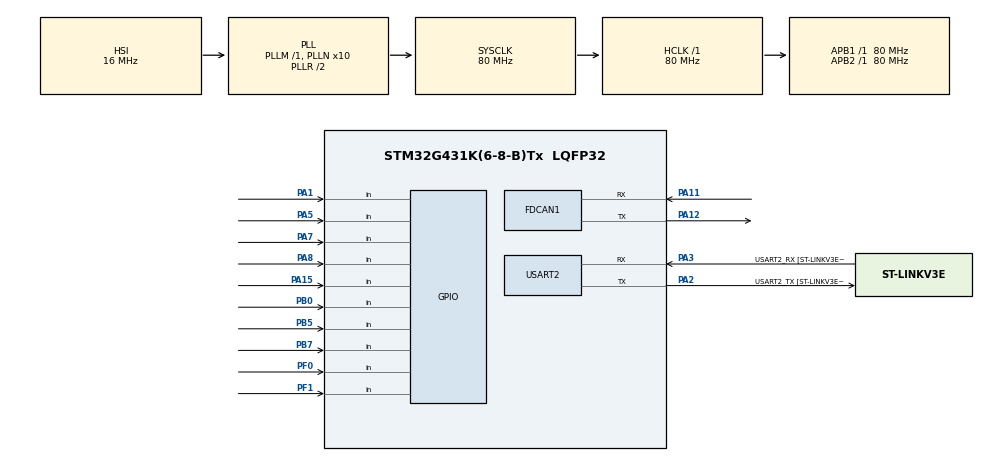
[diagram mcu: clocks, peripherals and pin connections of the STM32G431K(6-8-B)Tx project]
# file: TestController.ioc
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FDCAN1.CalculateBaudRateNominal=1000000
FDCAN1.CalculateTimeBitNominal=1000
FDCAN1.CalculateTimeQuantumNominal=62.5
FDCAN1.DataPrescaler=1
FDCAN1.DataSyncJumpWidth=4
FDCAN1.DataTimeSeg1=5
FDCAN1.DataTimeSeg2=4
FDCAN1.NominalPrescaler=5
FDCAN1.NominalSyncJumpWidth=16
FDCAN1.NominalTimeSeg1=13
FDCAN1.StdFiltersNbr=1
Mcu.Family=STM32G4
Mcu.Name=STM32G431K(6-8-B)Tx
Mcu.Package=LQFP32
NVIC.FDCAN1_IT0_IRQn=true\:0\:0\:false\:false\:true\:true\:true\:true
NVIC.FDCAN1_IT1_IRQn=true\:0\:0\:false\:false\:true\:true\:true\:true
NVIC.PriorityGroup=NVIC_PRIORITYGROUP_4
PA1.GPIO_PuPd=GPIO_PULLUP
PA1.Signal=GPIO_Input
PA11.Mode=FDCAN_Activate
PA11.Signal=FDCAN1_RX
PA12.Mode=FDCAN_Activate
PA12.Signal=FDCAN1_TX
PA13.GPIO_Label=T_SWDIO
PA13.Mode=Serial_Wire
PA13.Signal=SYS_JTMS-SWDIO
PA14.GPIO_Label=T_SWCLK
PA14.Mode=Serial_Wire
PA14.Signal=SYS_JTCK-SWCLK
PA15.GPIO_PuPd=GPIO_PULLUP
PA15.Signal=GPIO_Input
PA2.GPIO_Label=USART2_TX [ST-LINKV3E_VCP_RX]
PA2.Mode=Asynchronous
PA2.Signal=USART2_TX
PA3.GPIO_Label=USART2_RX [ST-LINKV3E_VCP_TX]
PA3.Mode=Asynchronous
PA3.Signal=USART2_RX
PA5.GPIO_PuPd=GPIO_PULLUP
PA5.Signal=GPIO_Input
PA7.GPIO_PuPd=GPIO_PULLUP
PA7.Signal=GPIO_Input
PA8.GPIO_PuPd=GPIO_PULLUP
PA8.Signal=GPIO_Input
PB0.GPIO_PuPd=GPIO_PULLUP
PB0.Signal=GPIO_Input
PB5.GPIO_PuPd=GPIO_PULLUP
PB5.Signal=GPIO_Input
PB7.GPIO_PuPd=GPIO_PULLUP
PB7.Signal=GPIO_Input
PF0-OSC_IN.GPIO_PuPd=GPIO_PULLUP
PF0-OSC_IN.Signal=GPIO_Input
PF1-OSC_OUT.GPIO_PuPd=GPIO_PULLUP
PF1-OSC_OUT.Signal=GPIO_Input
ProjectManager.HeapSize=0x200
ProjectManager.StackSize=0x400
ProjectManager.TargetToolchain=STM32CubeIDE
RCC.ADC12Freq_Value=80000000
RCC.AHBFreq_Value=80000000
RCC.APB1Freq_Value=80000000
RCC.APB1TimFreq_Value=80000000
RCC.APB2Freq_Value=80000000
RCC.APB2TimFreq_Value=80000000
RCC.CortexFreq_Value=80000000
RCC.EXTERNAL_CLOCK_VALUE=12288000
RCC.HCLKFreq_Value=80000000
RCC.HSE_VALUE=8000000
RCC.HSI48_VALUE=48000000
RCC.HSI_VALUE=16000000
RCC.LSE_VALUE=32768
RCC.PLLN=10
RCC.SYSCLKFreq_VALUE=80000000
RCC.SYSCLKSource=RCC_SYSCLKSOURCE_PLLCLK
RCC.USBFreq_Value=80000000
RCC.VCOOutputFreq_Value=160000000
USART2.VirtualMode-Asynchronous=VM_ASYNC
USART2.WordLength=WORDLENGTH_8B
board=NUCLEO-G431KB

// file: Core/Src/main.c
/* USER CODE BEGIN Header */
/**
  ******************************************************************************
  * @file           : main.c
  * @brief          : Main program body
  ******************************************************************************
  * @attention
  *
  * Copyright (c) 2023 STMicroelectronics.
  * All rights reserved.
  *
  * This software is licensed under terms that can be found in the LICENSE file
  * in the root directory of this software component.
  * If no LICENSE file comes with this software, it is provided AS-IS.
  *
  ******************************************************************************
  */
/* USER CODE END Header */
#include "main.h"

/* USER CODE BEGIN Includes */
#include <stdio.h>

/* USER CODE END Includes */

/* USER CODE BEGIN PM */
#define CANID_ROBOTVEL 0x20F

/* USER CODE END PM */

FDCAN_HandleTypeDef hfdcan1;

UART_HandleTypeDef huart2;

/* USER CODE BEGIN PV */
FDCAN_TxHeaderTypeDef TxHeader;
/* USER CODE END PV */

void SystemClock_Config(void);
static void MX_GPIO_Init(void);
static void MX_USART2_UART_Init(void);
static void MX_FDCAN1_Init(void);

/* USER CODE BEGIN 0 */
int _write(int file, char *ptr, int len)
{
	HAL_UART_Transmit(&huart2, (uint8_t *)ptr, len, 10);
	return len;
}

/*void HAL_GPIO_EXTI_Callback(uint16_t GPIO_Pin){
	if(GPIO_Pin == GPIO_PIN_15){
		printf("a\r\n");
	}
	else if(GPIO_Pin == GPIO_PIN_10){
		printf("b\r\n");
	}
	else if(GPIO_Pin == GPIO_PIN_9){
		printf("c\r\n");
	}
	else if(GPIO_Pin == GPIO_PIN_7){
		printf("d\r\n");
	}
	else if(GPIO_Pin == GPIO_PIN_6){
		printf("e\r\n");
	}
	else if(GPIO_Pin == GPIO_PIN_5){
		printf("f\r\n");
	}
	else if(GPIO_Pin == GPIO_PIN_4){
		printf("g\r\n");
	}
	else if(GPIO_Pin == GPIO_PIN_1){
		printf("h\r\n");
	}
	else if(GPIO_Pin == GPIO_PIN_0){
		printf("i\r\n");
	}
	else if(GPIO_Pin == GPIO_PIN_3){
		printf("j\r\n");
	}
}*/
/* USER CODE END 0 */

int main(void)
{

  /* MCU Configuration--------------------------------------------------------*/

  /* Reset of all peripherals, Initializes the Flash interface and the Systick. */
  HAL_Init();

  /* Configure the system clock */
  SystemClock_Config();

  /* Initialize all configured peripherals */
  MX_GPIO_Init();
  MX_USART2_UART_Init();
  MX_FDCAN1_Init();
  /* USER CODE BEGIN 2 */
  uint8_t TxData[3];

  printf("Initialized\r\n");
  /* USER CODE END 2 */

  /* Infinite loop */
  /* USER CODE BEGIN WHILE */
  while (1)
  {
	  int8_t RobotVel[3]={};
	   if(HAL_GPIO_ReadPin(GPIOA, GPIO_PIN_8)==GPIO_PIN_RESET){
		  RobotVel[1]=127;
		  printf("Y+\r\n");
	  }
	   else if(HAL_GPIO_ReadPin(GPIOB, GPIO_PIN_7)==GPIO_PIN_RESET){
		  RobotVel[1]=-127;
		  printf("Y-\r\n");
	  }
	  if(HAL_GPIO_ReadPin(GPIOB, GPIO_PIN_5)==GPIO_PIN_RESET){
		  RobotVel[0]=127;
		  printf("X+\r\n");
	  }
	  else if(HAL_GPIO_ReadPin(GPIOA, GPIO_PIN_15)==GPIO_PIN_RESET){
		  RobotVel[0]=-127;
		  printf("X-\r\n");
	  }
	 if(HAL_GPIO_ReadPin(GPIOA, GPIO_PIN_1)==GPIO_PIN_RESET){
		  RobotVel[2]=127;
		  printf("R+\r\n");
	  }
	  else if(HAL_GPIO_ReadPin(GPIOB, GPIO_PIN_0)==GPIO_PIN_RESET){
		  RobotVel[2]=-127;
		  printf("R-\r\n");
	  }
	   if(HAL_GPIO_ReadPin(GPIOA, GPIO_PIN_7)==GPIO_PIN_RESET){
		   for(uint8_t i=0; i<3; i++){
			   RobotVel[i]/=8;
		   }
		   printf("Slow\r\n");
	   }

	  for(int i=0; i<3; i++){
		  TxData[i] = RobotVel[i]+127;

	  }
	  printf("X:%d, Y%d, Om%d\r\n", TxData[0], TxData[1], TxData[2]);

	  if (HAL_FDCAN_AddMessageToTxFifoQ(&hfdcan1, &TxHeader, TxData) != HAL_OK) {

	  		Error_Handler();
	  	}

	  HAL_Delay(15);

    /* USER CODE END WHILE */

  }
}

void SystemClock_Config(void)
{
  RCC_OscInitTypeDef RCC_OscInitStruct = {0};
  RCC_ClkInitTypeDef RCC_ClkInitStruct = {0};

  /** Configure the main internal regulator output voltage
  */
  HAL_PWREx_ControlVoltageScaling(PWR_REGULATOR_VOLTAGE_SCALE1);

  /** Initializes the RCC Oscillators according to the specified parameters
  * in the RCC_OscInitTypeDef structure.
  */
  RCC_OscInitStruct.OscillatorType = RCC_OSCILLATORTYPE_HSI;
  RCC_OscInitStruct.HSIState = RCC_HSI_ON;
  RCC_OscInitStruct.HSICalibrationValue = RCC_HSICALIBRATION_DEFAULT;
  RCC_OscInitStruct.PLL.PLLState = RCC_PLL_ON;
  RCC_OscInitStruct.PLL.PLLSource = RCC_PLLSOURCE_HSI;
  RCC_OscInitStruct.PLL.PLLM = RCC_PLLM_DIV1;
  RCC_OscInitStruct.PLL.PLLN = 10;
  RCC_OscInitStruct.PLL.PLLP = RCC_PLLP_DIV2;
  RCC_OscInitStruct.PLL.PLLQ = RCC_PLLQ_DIV2;
  RCC_OscInitStruct.PLL.PLLR = RCC_PLLR_DIV2;
  if (HAL_RCC_OscConfig(&RCC_OscInitStruct) != HAL_OK)
  {
    Error_Handler();
  }

  /** Initializes the CPU, AHB and APB buses clocks
  */
  RCC_ClkInitStruct.ClockType = RCC_CLOCKTYPE_HCLK|RCC_CLOCKTYPE_SYSCLK
                              |RCC_CLOCKTYPE_PCLK1|RCC_CLOCKTYPE_PCLK2;
  RCC_ClkInitStruct.SYSCLKSource = RCC_SYSCLKSOURCE_PLLCLK;
  RCC_ClkInitStruct.AHBCLKDivider = RCC_SYSCLK_DIV1;
  RCC_ClkInitStruct.APB1CLKDivider = RCC_HCLK_DIV1;
  RCC_ClkInitStruct.APB2CLKDivider = RCC_HCLK_DIV1;

  if (HAL_RCC_ClockConfig(&RCC_ClkInitStruct, FLASH_LATENCY_2) != HAL_OK)
  {
    Error_Handler();
  }
}

static void MX_FDCAN1_Init(void)
{

  hfdcan1.Instance = FDCAN1;
  hfdcan1.Init.ClockDivider = FDCAN_CLOCK_DIV1;
  hfdcan1.Init.FrameFormat = FDCAN_FRAME_CLASSIC;
  hfdcan1.Init.Mode = FDCAN_MODE_NORMAL;
  hfdcan1.Init.AutoRetransmission = DISABLE;
  hfdcan1.Init.TransmitPause = DISABLE;
  hfdcan1.Init.ProtocolException = DISABLE;
  hfdcan1.Init.NominalPrescaler = 5;
  hfdcan1.Init.NominalSyncJumpWidth = 16;
  hfdcan1.Init.NominalTimeSeg1 = 13;
  hfdcan1.Init.NominalTimeSeg2 = 2;
  hfdcan1.Init.DataPrescaler = 1;
  hfdcan1.Init.DataSyncJumpWidth = 4;
  hfdcan1.Init.DataTimeSeg1 = 5;
  hfdcan1.Init.DataTimeSeg2 = 4;
  hfdcan1.Init.StdFiltersNbr = 1;
  hfdcan1.Init.ExtFiltersNbr = 0;
  hfdcan1.Init.TxFifoQueueMode = FDCAN_TX_FIFO_OPERATION;
  if (HAL_FDCAN_Init(&hfdcan1) != HAL_OK)
  {
    Error_Handler();
  }
  /* USER CODE BEGIN FDCAN1_Init 2 */
  if (HAL_FDCAN_Start(&hfdcan1) != HAL_OK) {
  		Error_Handler();
  	}

  TxHeader.IdType = FDCAN_STANDARD_ID;
  	TxHeader.TxFrameType = FDCAN_DATA_FRAME;
  	TxHeader.DataLength = FDCAN_DLC_BYTES_3;
  	TxHeader.ErrorStateIndicator = FDCAN_ESI_ACTIVE;
  	TxHeader.BitRateSwitch = FDCAN_BRS_OFF;
  	TxHeader.FDFormat = FDCAN_CLASSIC_CAN;
  	TxHeader.TxEventFifoControl = FDCAN_NO_TX_EVENTS;
  	TxHeader.MessageMarker = 0;
  	TxHeader.Identifier = CANID_ROBOTVEL;

  /* USER CODE END FDCAN1_Init 2 */

}

static void MX_USART2_UART_Init(void)
{

  huart2.Instance = USART2;
  huart2.Init.BaudRate = 115200;
  huart2.Init.WordLength = UART_WORDLENGTH_8B;
  huart2.Init.StopBits = UART_STOPBITS_1;
  huart2.Init.Parity = UART_PARITY_NONE;
  huart2.Init.Mode = UART_MODE_TX_RX;
  huart2.Init.HwFlowCtl = UART_HWCONTROL_NONE;
  huart2.Init.OverSampling = UART_OVERSAMPLING_16;
  huart2.Init.OneBitSampling = UART_ONE_BIT_SAMPLE_DISABLE;
  huart2.Init.ClockPrescaler = UART_PRESCALER_DIV1;
  huart2.AdvancedInit.AdvFeatureInit = UART_ADVFEATURE_NO_INIT;
  if (HAL_UART_Init(&huart2) != HAL_OK)
  {
    Error_Handler();
  }
  if (HAL_UARTEx_SetTxFifoThreshold(&huart2, UART_TXFIFO_THRESHOLD_1_8) != HAL_OK)
  {
    Error_Handler();
  }
  if (HAL_UARTEx_SetRxFifoThreshold(&huart2, UART_RXFIFO_THRESHOLD_1_8) != HAL_OK)
  {
    Error_Handler();
  }
  if (HAL_UARTEx_DisableFifoMode(&huart2) != HAL_OK)
  {
    Error_Handler();
  }
  /* USER CODE BEGIN USART2_Init 2 */
  setbuf(stdout, NULL);

  /* USER CODE END USART2_Init 2 */

}

static void MX_GPIO_Init(void)
{
  GPIO_InitTypeDef GPIO_InitStruct = {0};

  /* GPIO Ports Clock Enable */
  __HAL_RCC_GPIOF_CLK_ENABLE();
  __HAL_RCC_GPIOA_CLK_ENABLE();
  __HAL_RCC_GPIOB_CLK_ENABLE();

  /*Configure GPIO pins : PF0 PF1 */
  GPIO_InitStruct.Pin = GPIO_PIN_0|GPIO_PIN_1;
  GPIO_InitStruct.Mode = GPIO_MODE_INPUT;
  GPIO_InitStruct.Pull = GPIO_PULLUP;
  HAL_GPIO_Init(GPIOF, &GPIO_InitStruct);

  /*Configure GPIO pins : PA1 PA5 PA7 PA8
                           PA15 */
  GPIO_InitStruct.Pin = GPIO_PIN_1|GPIO_PIN_5|GPIO_PIN_7|GPIO_PIN_8
                          |GPIO_PIN_15;
  GPIO_InitStruct.Mode = GPIO_MODE_INPUT;
  GPIO_InitStruct.Pull = GPIO_PULLUP;
  HAL_GPIO_Init(GPIOA, &GPIO_InitStruct);

  /*Configure GPIO pins : PB0 PB5 PB7 */
  GPIO_InitStruct.Pin = GPIO_PIN_0|GPIO_PIN_5|GPIO_PIN_7;
  GPIO_InitStruct.Mode = GPIO_MODE_INPUT;
  GPIO_InitStruct.Pull = GPIO_PULLUP;
  HAL_GPIO_Init(GPIOB, &GPIO_InitStruct);

}

void Error_Handler(void)
{
  __disable_irq();
  while (1)
  {
  }
}
